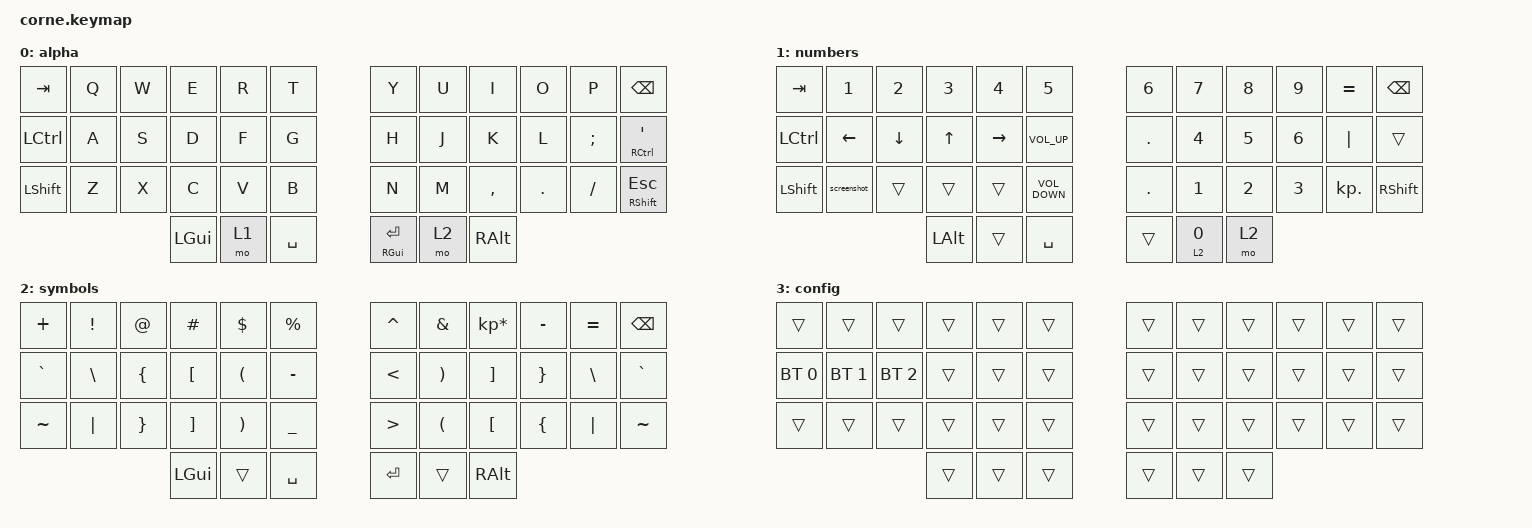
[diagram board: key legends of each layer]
/*
 * Copyright (c) 2020 The ZMK Contributors
 *
 * SPDX-License-Identifier: MIT
 */

#include <behaviors.dtsi>
#include <dt-bindings/zmk/bt.h>
#include <dt-bindings/zmk/keys.h>

/ {
    conditional_layers {
        compatible = "zmk,conditional-layers";

        tri_layer {
            if-layers = <1 2>;
            then-layer = <3>;
        };
    };

    macros {
        screenshot: screenshot {
            compatible = "zmk,behavior-macro";
            label = "SCREENSHOT";
            #binding-cells = <0>;
            bindings = <&kp LEFT_GUI &kp LEFT_SHIFT &kp NUMBER_4>;
        };
    };

    keymap {
        compatible = "zmk,keymap";

        alpha {
            // -----------------------------------------------------------------------------------------
            // |  TAB |  Q  |  W  |  E  |  R  |  T  |   |  Y  |  U   |  I  |  O  |  P  | BKSP |
            // | CTRL |  A  |  S  |  D  |  F  |  G  |   |  H  |  J   |  K  |  L  |  ;  |  '   |
            // | SHFT |  Z  |  X  |  C  |  V  |  B  |   |  N  |  M   |  ,  |  .  |  /  | ESC  |
            //                    | GUI | LWR | SPC |   | ENT | RSE  | ALT |

            label = "alpha";
            bindings = <
  &kp TAB  &kp Q  &kp W     &kp E  &kp R      &kp T                  &kp Y  &kp U      &kp I    &kp O     &kp P                        &kp BSPC
&kp LCTRL  &kp A  &kp S     &kp D  &kp F      &kp G                  &kp H  &kp J      &kp K    &kp L  &kp SEMI  &mt RIGHT_CONTROL SINGLE_QUOTE
&kp LSHFT  &kp Z  &kp X     &kp C  &kp V      &kp B                  &kp N  &kp M  &kp COMMA  &kp DOT  &kp FSLH             &mt RIGHT_SHIFT ESC
                         &kp LGUI  &mo 1  &kp SPACE    &mt RIGHT_GUI ENTER  &mo 2   &kp RALT
            >;
        };

        numbers {
            // -----------------------------------------------------------------------------------------
            // |  TAB |  1  |  2  |  3  |  4  |  5  |   |  6  |  7  |  8  |  9  |  0  | BKSP |
            // | BTCLR| BT1 | BT2 | BT3 | BT4 | BT5 |   | LFT | DWN |  UP | RGT |     |      |
            // | SHFT |     |     |     |     |     |   |     |     |     |     |     |      |
            //                    | GUI |     | SPC |   | ENT |     | ALT |

            label = "numbers";
            bindings = <
         &kp TAB       &kp N1          &kp N2        &kp N3     &kp N4             &kp N5     &kp N6        &kp N7        &kp N8        &kp N9   &kp EQUAL         &kp BSPC
&kp LEFT_CONTROL     &kp LEFT  &kp DOWN_ARROW  &kp UP_ARROW  &kp RIGHT    &kp C_VOLUME_UP    &kp DOT        &kp N4        &kp N5  &kp NUMBER_6    &kp PIPE           &trans
       &kp LSHFT  &screenshot          &trans        &trans     &trans  &kp C_VOLUME_DOWN    &kp DOT  &kp NUMBER_1  &kp NUMBER_2        &kp N3  &kp KP_DOT  &kp RIGHT_SHIFT
                                                   &kp LALT     &trans          &kp SPACE     &trans      &lt 2 N0         &mo 2
            >;
        };

        symbols {
            // -----------------------------------------------------------------------------------------
            // |  TAB |  !  |  @  |  #  |  $  |  %  |   |  ^  |  &  |  *  |  (  |  )  | BKSP |
            // | CTRL |     |     |     |     |     |   |  -  |  =  |  [  |  ]  |  \  |  `   |
            // | SHFT |     |     |     |     |     |   |  _  |  +  |  {  |  }  | "|" |  ~   |
            //                    | GUI |     | SPC |   | ENT |     | ALT |

            label = "symbols";
            bindings = <
 &kp PLUS       &kp EXCL           &kp AT           &kp HASH               &kp DLLR  &kp PRCNT           &kp CARET               &kp AMPS    &kp KP_MULTIPLY        &kp MINUS      &kp EQUAL   &kp BSPC
&kp GRAVE  &kp BACKSLASH   &kp LEFT_BRACE   &kp LEFT_BRACKET   &kp LEFT_PARENTHESIS  &kp MINUS       &kp LESS_THAN  &kp RIGHT_PARENTHESIS  &kp RIGHT_BRACKET  &kp RIGHT_BRACE  &kp BACKSLASH  &kp GRAVE
&kp TILDE       &kp PIPE  &kp RIGHT_BRACE  &kp RIGHT_BRACKET  &kp RIGHT_PARENTHESIS  &kp UNDER    &kp GREATER_THAN   &kp LEFT_PARENTHESIS   &kp LEFT_BRACKET   &kp LEFT_BRACE       &kp PIPE  &kp TILDE
                                                    &kp LGUI                 &trans  &kp SPACE             &kp RET                 &trans           &kp RALT
            >;
        };

        config {
            bindings = <
      &trans        &trans        &trans  &trans  &trans  &trans    &trans  &trans  &trans  &trans  &trans  &trans
&bt BT_SEL 0  &bt BT_SEL 1  &bt BT_SEL 2  &trans  &trans  &trans    &trans  &trans  &trans  &trans  &trans  &trans
      &trans        &trans        &trans  &trans  &trans  &trans    &trans  &trans  &trans  &trans  &trans  &trans
                                          &trans  &trans  &trans    &trans  &trans  &trans
            >;

            label = "config";
        };
    };
};
